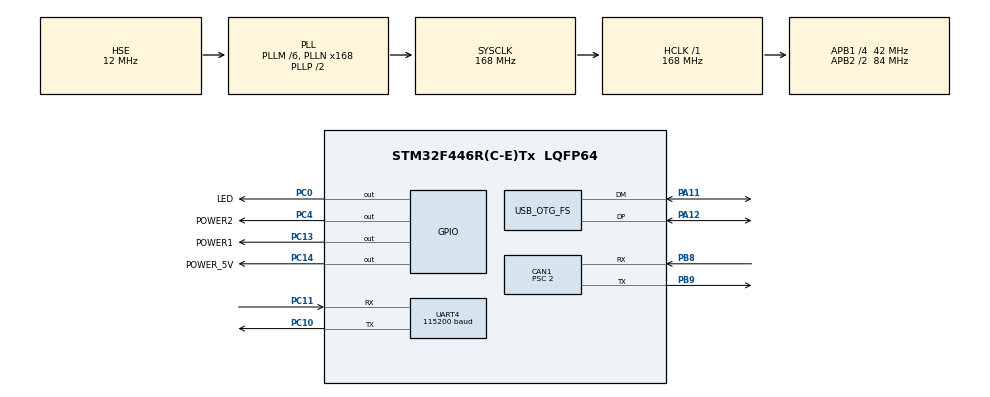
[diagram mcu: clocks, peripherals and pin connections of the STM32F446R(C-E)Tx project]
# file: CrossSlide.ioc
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CAN1.BS1=CAN_BS1_15TQ
CAN1.BS2=CAN_BS2_5TQ
CAN1.CalculateBaudRate=1000000
CAN1.CalculateTimeBit=1000
CAN1.CalculateTimeQuantum=47.61904761904762
CAN1.Prescaler=2
Dma.Request0=UART4_RX
Dma.Request1=UART4_TX
Dma.UART4_RX.0.Direction=DMA_PERIPH_TO_MEMORY
Dma.UART4_RX.0.FIFOMode=DMA_FIFOMODE_DISABLE
Dma.UART4_RX.0.Instance=DMA1_Stream2
Dma.UART4_RX.0.MemDataAlignment=DMA_MDATAALIGN_BYTE
Dma.UART4_RX.0.MemInc=DMA_MINC_ENABLE
Dma.UART4_RX.0.Mode=DMA_NORMAL
Dma.UART4_RX.0.PeriphDataAlignment=DMA_PDATAALIGN_BYTE
Dma.UART4_RX.0.PeriphInc=DMA_PINC_DISABLE
Dma.UART4_RX.0.Priority=DMA_PRIORITY_HIGH
Dma.UART4_TX.1.Direction=DMA_MEMORY_TO_PERIPH
Dma.UART4_TX.1.FIFOMode=DMA_FIFOMODE_DISABLE
Dma.UART4_TX.1.Instance=DMA1_Stream4
Dma.UART4_TX.1.MemDataAlignment=DMA_MDATAALIGN_BYTE
Dma.UART4_TX.1.MemInc=DMA_MINC_ENABLE
Dma.UART4_TX.1.Mode=DMA_NORMAL
Dma.UART4_TX.1.PeriphDataAlignment=DMA_PDATAALIGN_BYTE
Dma.UART4_TX.1.PeriphInc=DMA_PINC_DISABLE
Dma.UART4_TX.1.Priority=DMA_PRIORITY_HIGH
FREERTOS.Queues01=JogCmdQueue,16,uint32_t,0,Dynamic,NULL,NULL;MotorDataQueue,16,uint32_t,0,Dynamic,NULL,NULL
FREERTOS.Tasks01=defaultTask,-3,128,StartDefaultTask,Default,NULL,Dynamic,NULL,NULL;MotorDataTask,-1,128,ProcessMotorDataTask,Default,NULL,Dynamic,NULL,NULL;JogTask,0,128,StartJogTask,Default,NULL,Dynamic,NULL,NULL
FREERTOS.configUSE_NEWLIB_REENTRANT=0
Mcu.Family=STM32F4
Mcu.Name=STM32F446R(C-E)Tx
Mcu.Package=LQFP64
NVIC.CAN1_RX0_IRQn=true\:10\:0\:true\:false\:true\:true\:true\:true\:true
NVIC.DMA1_Stream2_IRQn=true\:5\:0\:false\:false\:true\:true\:false\:true\:true
NVIC.DMA1_Stream4_IRQn=true\:5\:0\:true\:false\:true\:true\:false\:true\:true
NVIC.OTG_FS_IRQn=true\:5\:0\:false\:false\:true\:true\:true\:true\:true
NVIC.PriorityGroup=NVIC_PRIORITYGROUP_4
NVIC.TIM2_IRQn=true\:15\:0\:false\:false\:true\:false\:false\:true\:true
NVIC.TimeBase=TIM2_IRQn
NVIC.TimeBaseIP=TIM2
NVIC.UART4_IRQn=true\:5\:0\:false\:false\:true\:true\:true\:true\:true
PA11.Mode=Device_Only
PA11.Signal=USB_OTG_FS_DM
PA12.Mode=Device_Only
PA12.Signal=USB_OTG_FS_DP
PA13.Mode=Serial_Wire
PA13.Signal=SYS_JTMS-SWDIO
PA14.Mode=Serial_Wire
PA14.Signal=SYS_JTCK-SWCLK
PB8.GPIO_PuPd=GPIO_NOPULL
PB8.Mode=CAN_Activate
PB8.Signal=CAN1_RX
PB9.GPIO_PuPd=GPIO_NOPULL
PB9.Mode=CAN_Activate
PB9.Signal=CAN1_TX
PC0.GPIO_Label=LED
PC0.PinState=GPIO_PIN_SET
PC0.Signal=GPIO_Output
PC10.Mode=Asynchronous
PC10.Signal=UART4_TX
PC11.GPIO_PuPd=GPIO_PULLUP
PC11.Mode=Asynchronous
PC11.Signal=UART4_RX
PC13.GPIO_Label=POWER1
PC13.PinState=GPIO_PIN_SET
PC13.Signal=GPIO_Output
PC14-OSC32_IN.GPIO_Label=POWER_5V
PC14-OSC32_IN.PinState=GPIO_PIN_SET
PC14-OSC32_IN.Signal=GPIO_Output
PC4.GPIO_Label=POWER2
PC4.PinState=GPIO_PIN_RESET
PC4.Signal=GPIO_Output
PH0-OSC_IN.Mode=HSE-External-Oscillator
PH0-OSC_IN.Signal=RCC_OSC_IN
PH1-OSC_OUT.Mode=HSE-External-Oscillator
PH1-OSC_OUT.Signal=RCC_OSC_OUT
ProjectManager.HeapSize=0x400
ProjectManager.StackSize=0x800
ProjectManager.TargetToolchain=MDK-ARM V5.32
RCC.AHBFreq_Value=168000000
RCC.APB1CLKDivider=RCC_HCLK_DIV4
RCC.APB1Freq_Value=42000000
RCC.APB1TimFreq_Value=84000000
RCC.APB2CLKDivider=RCC_HCLK_DIV2
RCC.APB2Freq_Value=84000000
RCC.APB2TimFreq_Value=168000000
RCC.CortexFreq_Value=168000000
RCC.HCLKFreq_Value=168000000
RCC.HSE_VALUE=12000000
RCC.PLLM=6
RCC.PLLN=168
RCC.PLLQ=7
RCC.PLLSourceVirtual=RCC_PLLSOURCE_HSE
RCC.SYSCLKFreq_VALUE=168000000
RCC.SYSCLKSource=RCC_SYSCLKSOURCE_PLLCLK
RCC.USBFreq_Value=48000000
RCC.VCOOutputFreq_Value=336000000
UART4.BaudRate=115200
UART4.VirtualMode=Asynchronous
USB_DEVICE.CLASS_NAME_FS=CDC
USB_DEVICE.VirtualMode-CDC_FS=Cdc
USB_DEVICE.VirtualModeFS=Cdc_FS
USB_OTG_FS.VirtualMode=Device_Only
VP_FREERTOS_VS_CMSIS_V1.Mode=CMSIS_V1
VP_SYS_VS_tim2.Mode=TIM2
VP_USB_DEVICE_VS_USB_DEVICE_CDC_FS.Mode=CDC_FS
board=custom

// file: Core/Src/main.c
/* USER CODE BEGIN Header */
/**
  ******************************************************************************
  * @file           : main.c
  * @brief          : Main program body
  ******************************************************************************
  * @attention
  *
  * Copyright (c) 2024 STMicroelectronics.
  * All rights reserved.
  *
  * This software is licensed under terms that can be found in the LICENSE file
  * in the root directory of this software component.
  * If no LICENSE file comes with this software, it is provided AS-IS.
  *
  ******************************************************************************
  */
/* USER CODE END Header */
#include "main.h"
#include "cmsis_os.h"
#include "can.h"
#include "dma.h"
#include "usart.h"
#include "usb_device.h"
#include "gpio.h"

/* USER CODE BEGIN Includes */
#include "bsp.h"
#include "maxon_re35.h"

/* USER CODE END Includes */

void SystemClock_Config(void);
void MX_FREERTOS_Init(void);

int main(void)
{

  /* MCU Configuration--------------------------------------------------------*/

  /* Reset of all peripherals, Initializes the Flash interface and the Systick. */
  HAL_Init();

  /* Configure the system clock */
  SystemClock_Config();

  /* Initialize all configured peripherals */
  MX_GPIO_Init();
  MX_DMA_Init();
  MX_CAN1_Init();
  MX_UART4_Init();
  /* USER CODE BEGIN 2 */
  CAN_Filter_Init();
  BSP_Init();
  RE35_Motor_Create();
  /* USER CODE END 2 */

  /* Call init function for freertos objects (in cmsis_os2.c) */
  MX_FREERTOS_Init();

  /* Start scheduler */
  osKernelStart();

  /* We should never get here as control is now taken by the scheduler */

  /* Infinite loop */
  while (1)
  {

    /* USER CODE BEGIN 3 */
	HAL_GPIO_TogglePin(LED_GPIO_Port, LED_Pin);
	HAL_Delay(1000);
  }
  /* USER CODE END 3 */
}

void SystemClock_Config(void)
{
  RCC_OscInitTypeDef RCC_OscInitStruct = {0};
  RCC_ClkInitTypeDef RCC_ClkInitStruct = {0};

  /** Configure the main internal regulator output voltage
  */
  __HAL_RCC_PWR_CLK_ENABLE();
  __HAL_PWR_VOLTAGESCALING_CONFIG(PWR_REGULATOR_VOLTAGE_SCALE1);

  /** Initializes the RCC Oscillators according to the specified parameters
  * in the RCC_OscInitTypeDef structure.
  */
  RCC_OscInitStruct.OscillatorType = RCC_OSCILLATORTYPE_HSE;
  RCC_OscInitStruct.HSEState = RCC_HSE_ON;
  RCC_OscInitStruct.PLL.PLLState = RCC_PLL_ON;
  RCC_OscInitStruct.PLL.PLLSource = RCC_PLLSOURCE_HSE;
  RCC_OscInitStruct.PLL.PLLM = 6;
  RCC_OscInitStruct.PLL.PLLN = 168;
  RCC_OscInitStruct.PLL.PLLP = RCC_PLLP_DIV2;
  RCC_OscInitStruct.PLL.PLLQ = 7;
  RCC_OscInitStruct.PLL.PLLR = 2;
  if (HAL_RCC_OscConfig(&RCC_OscInitStruct) != HAL_OK)
  {
    Error_Handler();
  }

  /** Initializes the CPU, AHB and APB buses clocks
  */
  RCC_ClkInitStruct.ClockType = RCC_CLOCKTYPE_HCLK|RCC_CLOCKTYPE_SYSCLK
                              |RCC_CLOCKTYPE_PCLK1|RCC_CLOCKTYPE_PCLK2;
  RCC_ClkInitStruct.SYSCLKSource = RCC_SYSCLKSOURCE_PLLCLK;
  RCC_ClkInitStruct.AHBCLKDivider = RCC_SYSCLK_DIV1;
  RCC_ClkInitStruct.APB1CLKDivider = RCC_HCLK_DIV4;
  RCC_ClkInitStruct.APB2CLKDivider = RCC_HCLK_DIV2;

  if (HAL_RCC_ClockConfig(&RCC_ClkInitStruct, FLASH_LATENCY_5) != HAL_OK)
  {
    Error_Handler();
  }
}

void HAL_TIM_PeriodElapsedCallback(TIM_HandleTypeDef *htim)
{
  if (htim->Instance == TIM2) {
    HAL_IncTick();
  }
}

void Error_Handler(void)
{
	__disable_irq();
  while (1)
  {
  }
}

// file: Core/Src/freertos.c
/* USER CODE BEGIN Header */
/**
  ******************************************************************************
  * File Name          : freertos.c
  * Description        : Code for freertos applications
  ******************************************************************************
  * @attention
  *
  * Copyright (c) 2024 STMicroelectronics.
  * All rights reserved.
  *
  * This software is licensed under terms that can be found in the LICENSE file
  * in the root directory of this software component.
  * If no LICENSE file comes with this software, it is provided AS-IS.
  *
  ******************************************************************************
  */
/* USER CODE END Header */

#include "FreeRTOS.h"
#include "task.h"
#include "main.h"
#include "cmsis_os.h"

/* USER CODE BEGIN Includes */
#include "msg.h"
#include "usart.h"
#include "utilities.h"
#include "bsp.h"
#include "maxon_re35.h"
#include <math.h>
/* USER CODE END Includes */

osThreadId defaultTaskHandle;
osThreadId MotorDataTaskHandle;
osThreadId JogTaskHandle;
osMessageQId JogCmdQueueHandle;
osMessageQId MotorDataQueueHandle;

void StartDefaultTask(void const * argument);
void ProcessMotorDataTask(void const * argument);
void StartJogTask(void const * argument);

extern void MX_USB_DEVICE_Init(void);
void MX_FREERTOS_Init(void); /* (MISRA C 2004 rule 8.1) */

/* GetIdleTaskMemory prototype (linked to static allocation support) */
void vApplicationGetIdleTaskMemory( StaticTask_t **ppxIdleTaskTCBBuffer, StackType_t **ppxIdleTaskStackBuffer, uint32_t *pulIdleTaskStackSize );

/* USER CODE BEGIN GET_IDLE_TASK_MEMORY */
static StaticTask_t xIdleTaskTCBBuffer;
static StackType_t xIdleStack[configMINIMAL_STACK_SIZE];

void vApplicationGetIdleTaskMemory( StaticTask_t **ppxIdleTaskTCBBuffer, StackType_t **ppxIdleTaskStackBuffer, uint32_t *pulIdleTaskStackSize )
{
  *ppxIdleTaskTCBBuffer = &xIdleTaskTCBBuffer;
  *ppxIdleTaskStackBuffer = &xIdleStack[0];
  *pulIdleTaskStackSize = configMINIMAL_STACK_SIZE;
  /* place for user code */
}
/* USER CODE END GET_IDLE_TASK_MEMORY */

void MX_FREERTOS_Init(void) {

  /* Create the queue(s) */
  /* definition and creation of JogCmdQueue */
  osMessageQDef(JogCmdQueue, 16, uint32_t);
  JogCmdQueueHandle = osMessageCreate(osMessageQ(JogCmdQueue), NULL);

  /* definition and creation of MotorDataQueue */
  osMessageQDef(MotorDataQueue, 16, uint32_t);
  MotorDataQueueHandle = osMessageCreate(osMessageQ(MotorDataQueue), NULL);

  /* Create the thread(s) */
  /* definition and creation of defaultTask */
  osThreadDef(defaultTask, StartDefaultTask, osPriorityIdle, 0, 128);
  defaultTaskHandle = osThreadCreate(osThread(defaultTask), NULL);

  /* definition and creation of MotorDataTask */
  osThreadDef(MotorDataTask, ProcessMotorDataTask, osPriorityBelowNormal, 0, 128);
  MotorDataTaskHandle = osThreadCreate(osThread(MotorDataTask), NULL);

  /* definition and creation of JogTask */
  osThreadDef(JogTask, StartJogTask, osPriorityNormal, 0, 128);
  JogTaskHandle = osThreadCreate(osThread(JogTask), NULL);

}

void StartDefaultTask(void const * argument)
{
  /* init code for USB_DEVICE */
  MX_USB_DEVICE_Init();
  /* USER CODE BEGIN StartDefaultTask */
  /* Infinite loop */
  for(;;)
  {
    HAL_GPIO_TogglePin(LED_GPIO_Port, LED_Pin);
	osDelay(500);
  }
  /* USER CODE END StartDefaultTask */
}

void ProcessMotorDataTask(void const * argument)
{
  /* USER CODE BEGIN ProcessMotorDataTask */
	uint8_t data[22] = {0XAA, 0X55};
	data[20] = 0xcc; data[21] = 0x88;
  /* Infinite loop */
  for(;;)
  {
	taskENTER_CRITICAL();
		memcpy(&data[2], &fb_data, sizeof(fb_data));
		HAL_UART_Transmit_DMA(&huart4, (uint8_t*)data, 22);
	taskEXIT_CRITICAL();
	osDelay(5);
  }
  /* USER CODE END ProcessMotorDataTask */
}

void StartJogTask(void const * argument)
{
  /* USER CODE BEGIN StartJogTask */
	Cmd *buf;
	osEvent evt;
  /* Infinite loop */
  for(;;)
  {
	evt = osMessageGet(JogCmdQueueHandle, osWaitForever);
	if (evt.status == osEventMessage) {
		buf = (Cmd*) evt.value.p;
		for (int i = 0; i < 3; ++i) {
			int32_t cmd_pos = Convert_Pos(buf->target_pos[i]);  // mm转换为qc
			int16_t cmd_vel = buf->target_vel[i];
			RE35_Motor_SetCmd(&re35_motor[i], VEL_POS, cmd_vel, cmd_pos);
			RE35_Motor_Send(&re35_motor[i]);
		}
	}
  }
  /* USER CODE END StartJogTask */
}
